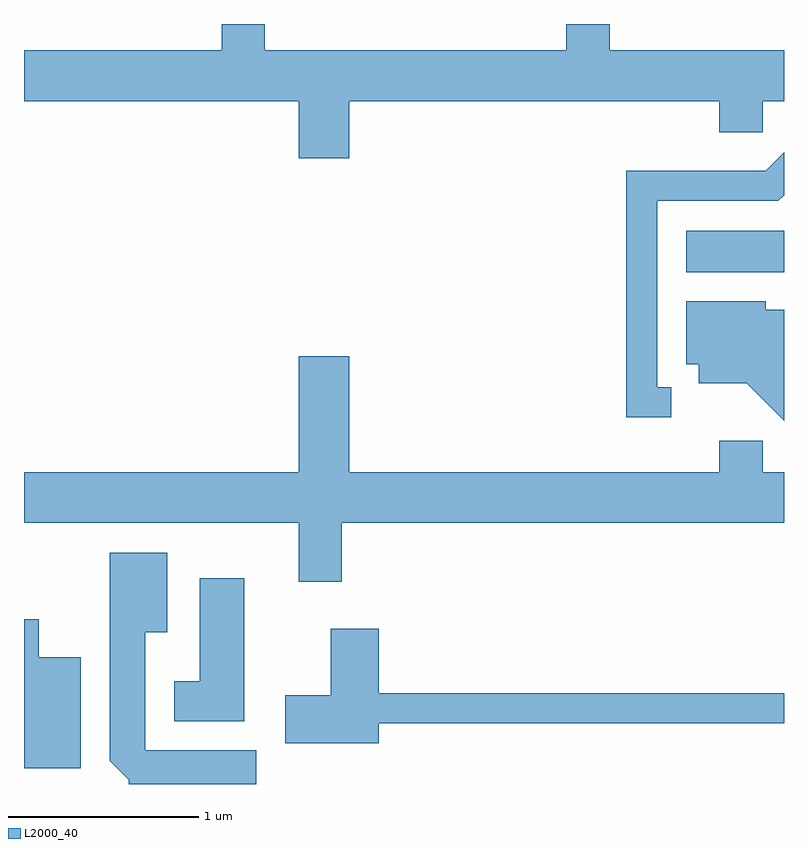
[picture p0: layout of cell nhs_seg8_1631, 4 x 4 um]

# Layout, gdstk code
import gdstk
lib = gdstk.Library(unit=1e-6, precision=1e-09)
def R(c, l, rs):  # rectangles x0, y0, x1, y1
    for r in rs: c.add(gdstk.rectangle(r[:2], r[2:], *l))
def P(c, l, *ps):  # polygons
    for p in ps: c.add(gdstk.Polygon(p, *l))
L2000_40 = (2000, 40)

nhs_seg8_1631 = lib.new_cell('nhs_seg8_1631')
R(nhs_seg8_1631, L2000_40, [(237.096,1871.036,237.611,1871.254)])
P(nhs_seg8_1631, L2000_40, [(235.324,1871.936),(237.271,1871.936),(237.271,1871.771),(237.499,1871.771),(237.499,1871.936),(237.611,1871.936),(237.611,1872.204),(236.694,1872.204),(236.694,1872.342),(236.466,1872.342),(236.466,1872.204),(234.879,1872.204),(234.879,1872.342),(234.651,1872.342),(234.651,1872.204),(233.611,1872.204),(233.611,1871.936),(235.056,1871.936),(235.056,1871.636),(235.324,1871.636)],
  [(237.018,1870.429),(236.944,1870.429),(236.944,1871.411),(237.582,1871.411),(237.611,1871.44),(237.611,1871.666),(237.514,1871.569),(236.781,1871.569),(236.781,1870.271),(237.018,1870.271)],
  [(237.611,1870.839),(237.514,1870.839),(237.514,1870.884),(237.096,1870.884),(237.096,1870.551),(237.161,1870.551),(237.161,1870.451),(237.414,1870.451),(237.611,1870.254)],
  [(235.284,1869.716),(237.611,1869.716),(237.611,1869.984),(237.499,1869.984),(237.499,1870.149),(237.271,1870.149),(237.271,1869.984),(235.324,1869.984),(235.324,1870.594),(235.056,1870.594),(235.056,1869.984),(233.611,1869.984),(233.611,1869.716),(235.056,1869.716),(235.056,1869.406),(235.284,1869.406)],
  [(234.834,1868.519),(234.249,1868.519),(234.249,1869.141),(234.364,1869.141),(234.364,1869.559),(234.061,1869.559),(234.061,1868.464),(234.161,1868.364),(234.161,1868.342),(234.834,1868.342)],
  [(234.769,1869.424),(234.536,1869.424),(234.536,1868.884),(234.401,1868.884),(234.401,1868.671),(234.769,1868.671)],
  [(233.909,1869.009),(233.689,1869.009),(233.689,1869.209),(233.611,1869.209),(233.611,1868.426),(233.909,1868.426)],
  [(235.479,1868.661),(237.611,1868.661),(237.611,1868.819),(235.479,1868.819),(235.479,1869.159),(235.226,1869.159),(235.226,1868.809),(234.986,1868.809),(234.986,1868.556),(235.479,1868.556)])

lib.write_gds('nhs_seg8_1631.gds')
